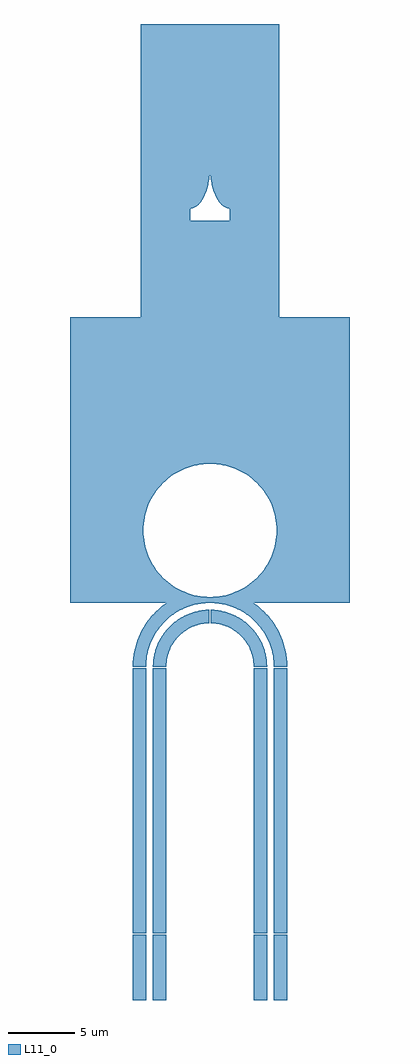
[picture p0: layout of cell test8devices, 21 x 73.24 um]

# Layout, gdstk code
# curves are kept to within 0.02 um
import gdstk
lib = gdstk.Library(unit=1e-6, precision=1e-09)
def R(c, l, rs):  # rectangles x0, y0, x1, y1
    for r in rs: c.add(gdstk.rectangle(r[:2], r[2:], *l))
def P(c, l, *ps):  # polygons
    for p in ps: c.add(gdstk.Polygon(p, *l))
L11_0 = (11, 0)

test8devices = lib.new_cell('test8devices')
R(test8devices, L11_0, [(-5.8,-35.24,-4.8,-30.34), (-4.28,-35.24,-3.28,-30.34), (3.28,-35.24,4.28,-30.34), (4.8,-35.24,5.8,-30.34), (-5.8,-30.24,-4.8,-10.34), (-4.28,-30.24,-3.28,-10.34), (3.28,-30.24,4.28,-10.34), (4.8,-30.24,5.8,-10.34)])
P(test8devices, L11_0, [(-4.28,-10.24),(-4.259,-9.82),(-4.198,-9.405),(-4.096,-8.998),(-3.954,-8.602),(-3.775,-8.222),(-3.559,-7.862),(-3.308,-7.525),(-3.026,-7.214),(-2.715,-6.932),(-2.378,-6.681),(-2.018,-6.465),(-1.638,-6.286),(-1.242,-6.144),(-0.835,-6.042),(-0.05,-5.961),(-0.05,-6.961),(-0.402,-6.985),(-0.797,-7.058),(-1.475,-7.31),(-1.822,-7.513),(-2.142,-7.756),(-2.376,-7.978),(-2.635,-8.286),(-2.93,-8.765),(-3.114,-9.211),(-3.232,-9.679),(-3.28,-10.24)],
  [(3.28,-10.24),(3.232,-9.679),(3.114,-9.211),(2.93,-8.765),(2.635,-8.286),(2.376,-7.978),(2.142,-7.756),(1.822,-7.513),(1.475,-7.31),(0.797,-7.058),(0.402,-6.985),(0.05,-6.961),(0.05,-5.961),(0.524,-5.992),(1.04,-6.088),(1.442,-6.21),(1.924,-6.417),(2.378,-6.681),(2.796,-6.999),(3.1,-7.289),(3.438,-7.69),(3.775,-8.222),(4.064,-8.897),(4.234,-9.612),(4.28,-10.24)],
  [(-5.8,-10.24),(-5.756,-9.53),(-5.626,-8.831),(-5.411,-8.153),(-5.115,-7.506),(-4.742,-6.9),(-4.298,-6.345),(-3.788,-5.848),(-3.255,-5.44),(-10.5,-5.44),(-10.5,-5),(0,-5),(0.734,-4.946),(1.215,-4.85),(1.684,-4.708),(2.138,-4.52),(2.571,-4.289),(3.172,-3.865),(3.705,-3.358),(4.016,-2.978),(4.289,-2.571),(4.52,-2.138),(4.708,-1.684),(4.85,-1.215),(4.946,-0.734),(4.994,-0.245),(4.994,0.245),(4.904,0.975),(4.785,1.451),(4.619,1.913),(4.41,2.357),(4.157,2.778),(3.865,3.172),(3.536,3.536),(3.172,3.865),(2.571,4.289),(2.138,4.52),(1.451,4.785),(0.975,4.904),(0.49,4.976),(-0.245,4.994),(-0.734,4.946),(-1.215,4.85),(-1.684,4.708),(-2.138,4.52),(-2.571,4.289),(-3.172,3.865),(-3.705,3.358),(-4.016,2.978),(-4.289,2.571),(-4.52,2.138),(-4.708,1.684),(-4.904,0.975),(-4.994,0.245),(-4.994,-0.245),(-4.946,-0.734),(-4.785,-1.451),(-4.619,-1.913),(-4.41,-2.357),(-4.157,-2.778),(-3.865,-3.172),(-3.358,-3.705),(-2.978,-4.016),(-2.571,-4.289),(-2.138,-4.52),(-1.684,-4.708),(-1.215,-4.85),(-0.734,-4.946),(0,-5),(-10.5,-5),(-10.5,16),(-5.2,16),(-5.2,23.25),(1.5,23.25),(1.5,24.15),(1.353,24.165),(1.136,24.243),(0.859,24.448),(0.606,24.76),(0.34,25.283),(0.213,25.656),(0.088,26.206),(0.016,26.795),(0,27.25),(-0.065,26.35),(-0.177,25.789),(-0.295,25.403),(-0.548,24.854),(-0.793,24.516),(-1.136,24.243),(-1.353,24.165),(-1.5,24.15),(-1.5,23.25),(-5.2,23.25),(-5.2,38),(5.2,38),(5.2,16),(10.5,16),(10.5,-5.44),(3.255,-5.44),(3.788,-5.848),(4.298,-6.345),(4.742,-6.9),(5.115,-7.506),(5.411,-8.153),(5.626,-8.831),(5.756,-9.53),(5.8,-10.24),(4.8,-10.24),(4.764,-9.652),(4.683,-9.188),(4.558,-8.734),(4.339,-8.188),(4.117,-7.772),(3.784,-7.287),(3.394,-6.846),(3.045,-6.53),(2.366,-6.064),(1.617,-5.721),(0.821,-5.511),(0,-5.44),(-0.821,-5.511),(-1.617,-5.721),(-2.366,-6.064),(-3.045,-6.53),(-3.394,-6.846),(-3.784,-7.287),(-4.117,-7.772),(-4.339,-8.188),(-4.558,-8.734),(-4.683,-9.188),(-4.764,-9.652),(-4.8,-10.24)])

lib.write_gds('test8devices.gds')
